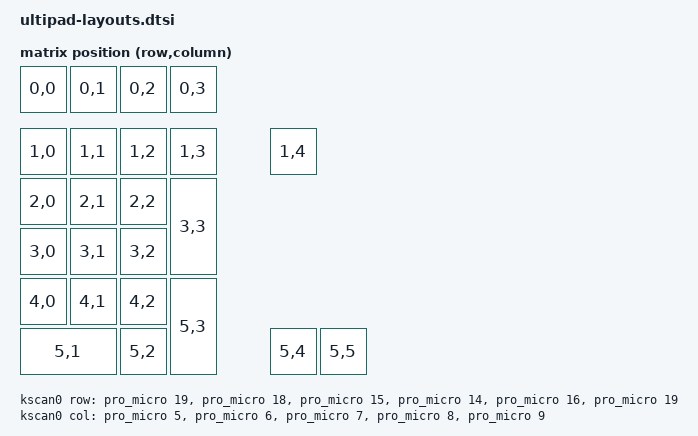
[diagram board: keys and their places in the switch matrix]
/{
    physical_layout0: physical_layout_0 {
        compatible = "zmk,physical-layout";
        display-name = "LAYOUT";

        kscan = <&kscan0>;
        transform = <&default_transform0>;

        keys  //                     w   h    x    y     rot    rx    ry
            = <&key_physical_attrs 100 100    0    0       0     0     0>
            , <&key_physical_attrs 100 100  100    0       0     0     0>
            , <&key_physical_attrs 100 100  200    0       0     0     0>
            , <&key_physical_attrs 100 100  300    0       0     0     0>
            , <&key_physical_attrs 100 100    0  125       0     0     0>
            , <&key_physical_attrs 100 100  100  125       0     0     0>
            , <&key_physical_attrs 100 100  200  125       0     0     0>
            , <&key_physical_attrs 100 100  300  125       0     0     0>
            , <&key_physical_attrs 100 100  500  125       0     0     0>
            , <&key_physical_attrs 100 100    0  225       0     0     0>
            , <&key_physical_attrs 100 100  100  225       0     0     0>
            , <&key_physical_attrs 100 100  200  225       0     0     0>
            , <&key_physical_attrs 100 100    0  325       0     0     0>
            , <&key_physical_attrs 100 100  100  325       0     0     0>
            , <&key_physical_attrs 100 100  200  325       0     0     0>
            , <&key_physical_attrs 100 200  300  225       0     0     0>
            , <&key_physical_attrs 100 100    0  425       0     0     0>
            , <&key_physical_attrs 100 100  100  425       0     0     0>
            , <&key_physical_attrs 100 100  200  425       0     0     0>
            , <&key_physical_attrs 200 100    0  525       0     0     0>
            , <&key_physical_attrs 100 100  200  525       0     0     0>
            , <&key_physical_attrs 100 200  300  425       0     0     0>
            , <&key_physical_attrs 100 100  500  525       0     0     0>
            , <&key_physical_attrs 100 100  600  525       0     0     0>
            ;
    };

    default_transform0: keymap_transform_0 {
            compatible = "zmk,matrix-transform";
            columns = <5>;
            rows = <6>;
            map = <
                RC(0,0) RC(0,1) RC(0,2) RC(0,3)
                RC(1,0) RC(1,1) RC(1,2) RC(1,3) RC(1,4)
                RC(2,0) RC(2,1) RC(2,2) 
                RC(3,0) RC(3,1) RC(3,2) RC(3,3)
                RC(4,0) RC(4,1) RC(4,2)
                        RC(5,1) RC(5,2) RC(5,3) RC(5,4) RC(5, 5)
        >;
    };

    kscan0: kscan0 {
        compatible = "zmk,kscan-gpio-matrix";
        wakeup-source;

        diode-direction = "col2row";
        row-gpios
            = <&pro_micro 19 (GPIO_ACTIVE_HIGH | GPIO_PULL_DOWN)>
            , <&pro_micro 18 (GPIO_ACTIVE_HIGH | GPIO_PULL_DOWN)>
            , <&pro_micro 15 (GPIO_ACTIVE_HIGH | GPIO_PULL_DOWN)>
            , <&pro_micro 14 (GPIO_ACTIVE_HIGH | GPIO_PULL_DOWN)>
            , <&pro_micro 16 (GPIO_ACTIVE_HIGH | GPIO_PULL_DOWN)>
            , <&pro_micro 19 (GPIO_ACTIVE_HIGH | GPIO_PULL_DOWN)>
            ;
        col-gpios
            = <&pro_micro 5  GPIO_ACTIVE_HIGH>
            , <&pro_micro 6  GPIO_ACTIVE_HIGH>
            , <&pro_micro 7  GPIO_ACTIVE_HIGH>
            , <&pro_micro 8  GPIO_ACTIVE_HIGH>
            , <&pro_micro 9 GPIO_ACTIVE_HIGH>
            ;
    };
};
